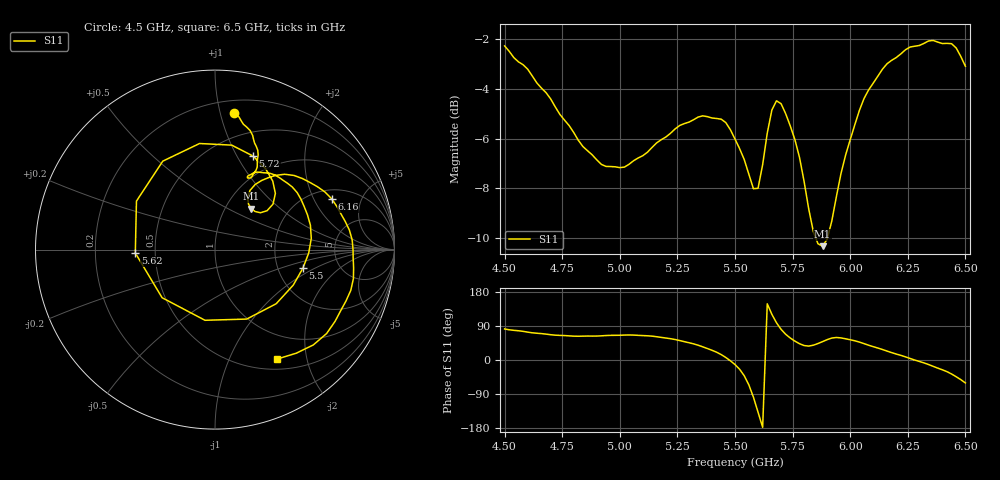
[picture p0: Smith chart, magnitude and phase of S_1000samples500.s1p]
! TOUCHSTONE file generated by CST MICROWAVE STUDIO
! Date and time: Fri Oct 28 09:20:29 2022
! Project name: L.cst
! Parameters = {Di=1.27; Epsilon_r=1.56; InnerDiameter=1.27; Length=2; Lf=10; Lg=60; OuterConductorThickness=0.2921; OuterDiameter=3.6; Wf=3; Wp=41.2; de=1.5; df=6.8; g=0.8; gx=0.580435; gy=4.57091; h=2.34; hf=1.524; px=12.177; py=9.4141; w=9.7; wx=11.5966; wy=4.84319}
! Header version: 2018
! Port assignment regex: !\s*Touchstone port\s*([0-9]+)\s*=\s*(CST MWS port|CST DS port)\s*([0-9]+|Zmin|Zmax)\s*\(\"(.*)\"\)(\s*mode\s*([0-9]+))?.*
! Touchstone port assignment:
! Touchstone port 1 = CST MWS port 1 ("")
# GHz S DB R 50
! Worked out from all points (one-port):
!   101 points, 4.5 GHz to 6.5 GHz, reference 50 ohm
!   lowest |S11| = -10.3 dB at 5.88 GHz (marker M1), VSWR 1.88, Z = 65.8 + j33.1 ohm
!   |S11| at or under -10 dB: 5.851 GHz to 5.901 GHz (50.07 MHz wide, 0.852 % of centre)
!   S11 on the Smith chart (normalised r, x): 4.5 GHz: 0.30, +1.11; 5.5 GHz: 2.76, -0.77; 5.62 GHz: 0.38, -0.02; 5.72 GHz: 0.77, +1.17; 6.16 GHz: 2.46, +2.80; 6.5 GHz: 0.63, -1.52
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4.5  -2.27 82.0
4.62  -3.48 71.8
4.76  -5.25 64.5
5  -7.16 65.3
5.12  -6.54 63.9
5.26  -5.47 51.3
5.4  -5.17 25.7
5.46  -5.35 6.7
5.5  -6.01 -12.0
5.54  -6.84 -41.5
5.58  -8.01 -98.0
5.6  -7.99 -137.7
5.62  -7.04 -177.5
5.64  -5.78 148.3
5.66  -4.85 120.6
5.68  -4.48 98.3
5.72  -4.99 67.8
5.76  -6.04 49.8
5.82  -8.82 36.7
5.88  -10.32 48.5
5.94  -8.33 59.4
6  -6.04 53.4
6.06  -4.38 43.2
6.16  -2.98 23.5
6.26  -2.31 4.0
6.34  -2.07 -11.9
6.42  -2.17 -30.8
6.5  -3.09 -60.5
